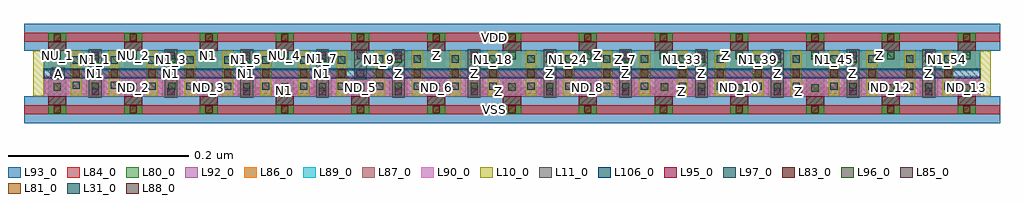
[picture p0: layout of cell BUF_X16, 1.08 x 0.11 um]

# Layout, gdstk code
import gdstk
lib = gdstk.Library(unit=1e-6, precision=1e-09)
def R(c, l, rs):  # rectangles x0, y0, x1, y1
    for r in rs: c.add(gdstk.rectangle(r[:2], r[2:], *l))
def A(c, l, x, y, w, h, nx, ny, dx, dy):  # array of equal rectangles
    R(c, l, [(x+i*dx, y+j*dy, x+i*dx+w, y+j*dy+h) for i in range(nx) for j in range(ny)])
L10_0 = (10, 0)
L11_0 = (11, 0)
L31_0 = (31, 0)
L80_0 = (80, 0)
L81_0 = (81, 0)
L83_0 = (83, 0)
L84_0 = (84, 0)
L85_0 = (85, 0)
L86_0 = (86, 0)
L87_0 = (87, 0)
L88_0 = (88, 0)
L89_0 = (89, 0)
L90_0 = (90, 0)
L92_0 = (92, 0)
L93_0 = (93, 0)
L95_0 = (95, 0)
L96_0 = (96, 0)
L97_0 = (97, 0)
L106_0 = (106, 0)

buf_x16 = lib.new_cell('BUF_X16')
A(buf_x16, L10_0, -0.027, 0.015, 0.012, 0.05, 26, 1, 0.042, 0)
A(buf_x16, L11_0, 0.035, 0.013, 0.014, 0.034, 12, 1, 0.084, 0)
A(buf_x16, L11_0, 0.035, 0.033, 0.014, 0.034, 4, 1, 0.084, 0)
A(buf_x16, L11_0, 0.371, 0.033, 0.014, 0.034, 8, 1, 0.084, 0)
R(buf_x16, L11_0, [(-0.006,0.033,0.008,0.047), (0.329,0.033,0.343,0.067)])
A(buf_x16, L31_0, 0.038, 0.036, 0.008, 0.008, 12, 1, 0.084, 0)
R(buf_x16, L31_0, [(-0.003,0.036,0.005,0.044)])
A(buf_x16, L80_0, -0.01, -0.005, 0.02, 0.021, 13, 1, 0.084, 0)
A(buf_x16, L80_0, -0.01, 0.015, 0.02, 0.02, 25, 1, 0.042, 0)
A(buf_x16, L80_0, -0.01, 0.056, 0.02, 0.029, 13, 1, 0.084, 0)
R(buf_x16, L80_0, [(-0.01,0.045,0.01,0.065), (-0.01,0.045,0.01,0.065), (0.032,0.045,0.052,0.065), (0.032,0.045,0.052,0.065), (0.074,0.045,0.094,0.065), (0.074,0.045,0.094,0.065), (0.116,0.045,0.136,0.065), (0.116,0.045,0.136,0.065), (0.158,0.045,0.178,0.065), (0.158,0.045,0.178,0.065), (0.2,0.045,0.22,0.065), (0.2,0.045,0.22,0.065), (0.242,0.045,0.262,0.065), (0.242,0.045,0.262,0.065), (0.284,0.045,0.304,0.065), (0.284,0.045,0.304,0.065), (0.326,0.045,0.346,0.065), (0.326,0.045,0.346,0.065), (0.368,0.045,0.388,0.065), (0.368,0.045,0.388,0.065), (0.41,0.045,0.43,0.065), (0.41,0.045,0.43,0.065), (0.452,0.045,0.472,0.065), (0.452,0.045,0.472,0.065), (0.494,0.045,0.514,0.065), (0.494,0.045,0.514,0.065), (0.536,0.045,0.556,0.065), (0.536,0.045,0.556,0.065), (0.578,0.045,0.598,0.065), (0.578,0.045,0.598,0.065), (0.62,0.045,0.64,0.065), (0.62,0.045,0.64,0.065), (0.662,0.045,0.682,0.065), (0.662,0.045,0.682,0.065), (0.704,0.045,0.724,0.065), (0.704,0.045,0.724,0.065), (0.746,0.045,0.766,0.065), (0.746,0.045,0.766,0.065), (0.788,0.045,0.808,0.065), (0.788,0.045,0.808,0.065), (0.83,0.045,0.85,0.065), (0.83,0.045,0.85,0.065), (0.872,0.045,0.892,0.065), (0.872,0.045,0.892,0.065), (0.914,0.045,0.934,0.065), (0.914,0.045,0.934,0.065), (0.956,0.045,0.976,0.065), (0.956,0.045,0.976,0.065), (0.998,0.045,1.018,0.065), (0.998,0.045,1.018,0.065)])
A(buf_x16, L81_0, 0.017, 0.036, 0.008, 0.008, 24, 1, 0.042, 0)
R(buf_x16, L81_0, [(0.017,0.036,0.025,0.044)])
A(buf_x16, L83_0, -0.004, -0.004, 0.008, 0.008, 13, 2, 0.084, 0.08)
A(buf_x16, L83_0, 0.038, 0.016, 0.008, 0.008, 12, 1, 0.084, 0)
R(buf_x16, L83_0, [(0.038,0.056,0.046,0.064), (0.038,0.056,0.046,0.064), (0.122,0.056,0.13,0.064), (0.122,0.056,0.13,0.064), (0.206,0.056,0.214,0.064), (0.206,0.056,0.214,0.064), (0.29,0.056,0.298,0.064), (0.29,0.056,0.298,0.064), (0.374,0.056,0.382,0.064), (0.374,0.056,0.382,0.064), (0.458,0.056,0.466,0.064), (0.458,0.056,0.466,0.064), (0.542,0.056,0.55,0.064), (0.542,0.056,0.55,0.064), (0.626,0.056,0.634,0.064), (0.626,0.056,0.634,0.064), (0.71,0.056,0.718,0.064), (0.71,0.056,0.718,0.064), (0.794,0.056,0.802,0.064), (0.794,0.056,0.802,0.064), (0.878,0.056,0.886,0.064), (0.878,0.056,0.886,0.064), (0.962,0.056,0.97,0.064), (0.962,0.056,0.97,0.064)])
A(buf_x16, L84_0, 0.205, 0.015, 0.031, 0.01, 4, 1, 0.021, 0)
A(buf_x16, L84_0, 0.457, 0.015, 0.031, 0.01, 4, 1, 0.021, 0)
A(buf_x16, L84_0, 0.625, 0.015, 0.031, 0.01, 4, 1, 0.021, 0)
A(buf_x16, L84_0, 0.793, 0.015, 0.031, 0.01, 4, 1, 0.021, 0)
A(buf_x16, L84_0, 0.016, 0.035, 0.031, 0.01, 14, 1, 0.021, 0)
A(buf_x16, L84_0, 0.331, 0.035, 0.031, 0.01, 31, 1, 0.021, 0)
A(buf_x16, L84_0, 0.121, 0.055, 0.031, 0.01, 4, 1, 0.021, 0)
A(buf_x16, L84_0, 0.373, 0.055, 0.031, 0.01, 4, 1, 0.021, 0)
A(buf_x16, L84_0, 0.541, 0.055, 0.031, 0.01, 4, 1, 0.021, 0)
A(buf_x16, L84_0, 0.709, 0.055, 0.031, 0.01, 4, 1, 0.021, 0)
A(buf_x16, L84_0, 0.877, 0.055, 0.031, 0.01, 4, 1, 0.021, 0)
R(buf_x16, L84_0, [(-0.037,-0.005,1.045,0.005), (0.037,0.015,0.047,0.025), (0.121,0.015,0.131,0.025), (0.373,0.015,0.383,0.025), (0.961,0.015,0.971,0.025), (-0.008,0.035,0.028,0.045), (0.037,0.055,0.047,0.065), (0.289,0.055,0.32,0.065), (0.31,0.055,0.341,0.065), (-0.037,0.075,1.045,0.085)])
A(buf_x16, L85_0, 0.038, 0.016, 0.008, 0.008, 12, 1, 0.084, 0)
A(buf_x16, L85_0, 0.038, 0.056, 0.008, 0.008, 4, 1, 0.084, 0)
A(buf_x16, L85_0, 0.374, 0.056, 0.008, 0.008, 8, 1, 0.084, 0)
R(buf_x16, L85_0, [(-0.003,0.036,0.005,0.044), (0.332,0.036,0.34,0.044), (0.332,0.056,0.34,0.064)])
R(buf_x16, L86_0, [(-0.015,0.043,1.023,0.065)])
R(buf_x16, L87_0, [(-0.015,0.015,1.023,0.037)])
R(buf_x16, L88_0, [(0.481,-0.004,0.489,0.004), (0.485,0.016,0.493,0.024), (0.688,0.016,0.696,0.024), (0.818,0.016,0.826,0.024), (0.248,0.017,0.256,0.025), (0.164,0.056,0.172,0.064), (0.416,0.056,0.424,0.064), (0.595,0.056,0.603,0.064), (0.737,0.056,0.745,0.064), (0.907,0.056,0.915,0.064), (0.481,0.076,0.489,0.084)])
R(buf_x16, L89_0, [(-0.015,0.043,1.023,0.065)])
R(buf_x16, L90_0, [(-0.015,0.015,1.023,0.037)])
R(buf_x16, L92_0, [(-0.014,0.017,1.022,0.035), (-0.014,0.045,1.022,0.063)])
R(buf_x16, L93_0, [(-0.037,-0.015,1.045,0.015), (-0.037,0.065,1.045,0.095)])
A(buf_x16, L95_0, -0.01, 0.005, 0.02, 0.01, 13, 2, 0.084, 0.06)
A(buf_x16, L96_0, 0.752, 0.02, 0.008, 0.008, 4, 1, 0.084, 0)
A(buf_x16, L96_0, -0.004, 0.021, 0.008, 0.008, 3, 1, 0.084, 0)
A(buf_x16, L96_0, 0.206, 0.021, 0.008, 0.008, 4, 1, 0.042, 0)
A(buf_x16, L96_0, 0.5, 0.021, 0.008, 0.008, 4, 1, 0.042, 0)
A(buf_x16, L96_0, 0.71, 0.021, 0.008, 0.008, 4, 1, 0.084, 0)
A(buf_x16, L96_0, 0.374, 0.052, 0.008, 0.008, 8, 1, 0.084, 0)
A(buf_x16, L96_0, -0.004, 0.056, 0.008, 0.008, 13, 1, 0.084, 0)
R(buf_x16, L96_0, [(0.416,0.021,0.424,0.029), (0.669,0.021,0.677,0.029), (0.038,0.022,0.046,0.03), (0.123,0.022,0.131,0.03), (0.374,0.022,0.382,0.03), (0.458,0.022,0.466,0.03), (0.038,0.052,0.046,0.06), (0.123,0.052,0.131,0.06), (0.206,0.052,0.214,0.06), (0.29,0.053,0.298,0.061)])
A(buf_x16, L97_0, 0.101, 0.022, 0.008, 0.008, 22, 1, 0.042, 0)
A(buf_x16, L97_0, 0.017, 0.036, 0.008, 0.008, 24, 1, 0.042, 0)
A(buf_x16, L97_0, 0.017, 0.051, 0.008, 0.008, 8, 1, 0.042, 0)
A(buf_x16, L97_0, 0.353, 0.052, 0.008, 0.008, 16, 1, 0.042, 0)
R(buf_x16, L97_0, [(0.017,0.023,0.025,0.031), (0.059,0.023,0.067,0.031)])
R(buf_x16, L106_0, [(-0.015,0.035,1.023,0.045)])
buf_x16.add(gdstk.Label('Z', (0.911,0.06), layer=88, texttype=0))
buf_x16.add(gdstk.Label('Z', (0.489,0.02), layer=88, texttype=0))
buf_x16.add(gdstk.Label('Z', (0.42,0.06), layer=88, texttype=0))
buf_x16.add(gdstk.Label('Z', (0.692,0.02), layer=88, texttype=0))
buf_x16.add(gdstk.Label('Z', (0.741,0.06), layer=88, texttype=0))
buf_x16.add(gdstk.Label('Z', (0.822,0.02), layer=88, texttype=0))
buf_x16.add(gdstk.Label('Z', (0.599,0.06), layer=88, texttype=0))
buf_x16.add(gdstk.Label('N1', (0.252,0.021), layer=88, texttype=0))
buf_x16.add(gdstk.Label('N1', (0.168,0.06), layer=88, texttype=0))
buf_x16.add(gdstk.Label('VSS', (0.485,0), layer=88, texttype=0))
buf_x16.add(gdstk.Label('VDD', (0.485,0.08), layer=88, texttype=0))
buf_x16.add(gdstk.Label('Z', (0.966,0.04), layer=31, texttype=0))
buf_x16.add(gdstk.Label('Z', (0.882,0.04), layer=31, texttype=0))
buf_x16.add(gdstk.Label('Z', (0.798,0.04), layer=31, texttype=0))
buf_x16.add(gdstk.Label('Z', (0.714,0.04), layer=31, texttype=0))
buf_x16.add(gdstk.Label('Z', (0.63,0.04), layer=31, texttype=0))
buf_x16.add(gdstk.Label('Z', (0.546,0.04), layer=31, texttype=0))
buf_x16.add(gdstk.Label('Z', (0.462,0.04), layer=31, texttype=0))
buf_x16.add(gdstk.Label('Z', (0.378,0.04), layer=31, texttype=0))
buf_x16.add(gdstk.Label('N1', (0.294,0.04), layer=31, texttype=0))
buf_x16.add(gdstk.Label('N1', (0.21,0.04), layer=31, texttype=0))
buf_x16.add(gdstk.Label('N1', (0.126,0.04), layer=31, texttype=0))
buf_x16.add(gdstk.Label('N1', (0.042,0.04), layer=31, texttype=0))
buf_x16.add(gdstk.Label('A', (0.001,0.04), layer=31, texttype=0))
buf_x16.add(gdstk.Label('N1_56', (0.987,0.026), layer=97, texttype=0))
buf_x16.add(gdstk.Label('N1_53', (0.945,0.026), layer=97, texttype=0))
buf_x16.add(gdstk.Label('N1_50', (0.903,0.026), layer=97, texttype=0))
buf_x16.add(gdstk.Label('N1_47', (0.861,0.026), layer=97, texttype=0))
buf_x16.add(gdstk.Label('N1_44', (0.819,0.026), layer=97, texttype=0))
buf_x16.add(gdstk.Label('N1_41', (0.777,0.026), layer=97, texttype=0))
buf_x16.add(gdstk.Label('N1_38', (0.735,0.026), layer=97, texttype=0))
buf_x16.add(gdstk.Label('N1_35', (0.693,0.026), layer=97, texttype=0))
buf_x16.add(gdstk.Label('N1_32', (0.651,0.026), layer=97, texttype=0))
buf_x16.add(gdstk.Label('N1_29', (0.609,0.026), layer=97, texttype=0))
buf_x16.add(gdstk.Label('N1_26', (0.567,0.026), layer=97, texttype=0))
buf_x16.add(gdstk.Label('N1_23', (0.525,0.026), layer=97, texttype=0))
buf_x16.add(gdstk.Label('N1_20', (0.483,0.026), layer=97, texttype=0))
buf_x16.add(gdstk.Label('N1_17', (0.441,0.026), layer=97, texttype=0))
buf_x16.add(gdstk.Label('N1_14', (0.399,0.026), layer=97, texttype=0))
buf_x16.add(gdstk.Label('N1_11', (0.357,0.026), layer=97, texttype=0))
buf_x16.add(gdstk.Label('N1_10', (0.357,0.04), layer=97, texttype=0))
buf_x16.add(gdstk.Label('N1_13', (0.399,0.04), layer=97, texttype=0))
buf_x16.add(gdstk.Label('N1_16', (0.441,0.04), layer=97, texttype=0))
buf_x16.add(gdstk.Label('N1_19', (0.483,0.04), layer=97, texttype=0))
buf_x16.add(gdstk.Label('N1_22', (0.525,0.04), layer=97, texttype=0))
buf_x16.add(gdstk.Label('N1_25', (0.567,0.04), layer=97, texttype=0))
buf_x16.add(gdstk.Label('N1_28', (0.609,0.04), layer=97, texttype=0))
buf_x16.add(gdstk.Label('N1_31', (0.651,0.04), layer=97, texttype=0))
buf_x16.add(gdstk.Label('N1_34', (0.693,0.04), layer=97, texttype=0))
buf_x16.add(gdstk.Label('N1_37', (0.735,0.04), layer=97, texttype=0))
buf_x16.add(gdstk.Label('N1_40', (0.777,0.04), layer=97, texttype=0))
buf_x16.add(gdstk.Label('N1_43', (0.819,0.04), layer=97, texttype=0))
buf_x16.add(gdstk.Label('N1_46', (0.861,0.04), layer=97, texttype=0))
buf_x16.add(gdstk.Label('N1_49', (0.903,0.04), layer=97, texttype=0))
buf_x16.add(gdstk.Label('N1_52', (0.945,0.04), layer=97, texttype=0))
buf_x16.add(gdstk.Label('N1_55', (0.987,0.04), layer=97, texttype=0))
buf_x16.add(gdstk.Label('N1_54', (0.987,0.056), layer=97, texttype=0))
buf_x16.add(gdstk.Label('N1_51', (0.945,0.056), layer=97, texttype=0))
buf_x16.add(gdstk.Label('N1_48', (0.903,0.056), layer=97, texttype=0))
buf_x16.add(gdstk.Label('N1_45', (0.861,0.056), layer=97, texttype=0))
buf_x16.add(gdstk.Label('N1_42', (0.819,0.056), layer=97, texttype=0))
buf_x16.add(gdstk.Label('N1_39', (0.777,0.056), layer=97, texttype=0))
buf_x16.add(gdstk.Label('N1_36', (0.735,0.056), layer=97, texttype=0))
buf_x16.add(gdstk.Label('N1_33', (0.693,0.056), layer=97, texttype=0))
buf_x16.add(gdstk.Label('N1_30', (0.651,0.056), layer=97, texttype=0))
buf_x16.add(gdstk.Label('N1_27', (0.609,0.056), layer=97, texttype=0))
buf_x16.add(gdstk.Label('N1_24', (0.567,0.056), layer=97, texttype=0))
buf_x16.add(gdstk.Label('N1_21', (0.525,0.056), layer=97, texttype=0))
buf_x16.add(gdstk.Label('N1_18', (0.483,0.056), layer=97, texttype=0))
buf_x16.add(gdstk.Label('N1_15', (0.441,0.056), layer=97, texttype=0))
buf_x16.add(gdstk.Label('N1_12', (0.399,0.056), layer=97, texttype=0))
buf_x16.add(gdstk.Label('N1_9', (0.357,0.056), layer=97, texttype=0))
buf_x16.add(gdstk.Label('A_24', (0.315,0.026), layer=97, texttype=0))
buf_x16.add(gdstk.Label('A_21', (0.273,0.026), layer=97, texttype=0))
buf_x16.add(gdstk.Label('A_18', (0.231,0.026), layer=97, texttype=0))
buf_x16.add(gdstk.Label('A_15', (0.189,0.026), layer=97, texttype=0))
buf_x16.add(gdstk.Label('A_12', (0.147,0.026), layer=97, texttype=0))
buf_x16.add(gdstk.Label('A_9', (0.105,0.026), layer=97, texttype=0))
buf_x16.add(gdstk.Label('A_8', (0.105,0.04), layer=97, texttype=0))
buf_x16.add(gdstk.Label('A_11', (0.147,0.04), layer=97, texttype=0))
buf_x16.add(gdstk.Label('A_14', (0.189,0.04), layer=97, texttype=0))
buf_x16.add(gdstk.Label('A_17', (0.231,0.04), layer=97, texttype=0))
buf_x16.add(gdstk.Label('A_20', (0.273,0.04), layer=97, texttype=0))
buf_x16.add(gdstk.Label('A_23', (0.315,0.04), layer=97, texttype=0))
buf_x16.add(gdstk.Label('A_22', (0.315,0.055), layer=97, texttype=0))
buf_x16.add(gdstk.Label('A_19', (0.273,0.055), layer=97, texttype=0))
buf_x16.add(gdstk.Label('A_16', (0.231,0.055), layer=97, texttype=0))
buf_x16.add(gdstk.Label('A_13', (0.189,0.055), layer=97, texttype=0))
buf_x16.add(gdstk.Label('A_10', (0.147,0.055), layer=97, texttype=0))
buf_x16.add(gdstk.Label('A_7', (0.105,0.055), layer=97, texttype=0))
buf_x16.add(gdstk.Label('A_4', (0.063,0.055), layer=97, texttype=0))
buf_x16.add(gdstk.Label('A_5', (0.063,0.04), layer=97, texttype=0))
buf_x16.add(gdstk.Label('A_6', (0.063,0.027), layer=97, texttype=0))
buf_x16.add(gdstk.Label('A_3', (0.021,0.027), layer=97, texttype=0))
buf_x16.add(gdstk.Label('A_2', (0.021,0.04), layer=97, texttype=0))
buf_x16.add(gdstk.Label('A_1', (0.021,0.055), layer=97, texttype=0))
buf_x16.add(gdstk.Label('Z_6', (0.546,0.025), layer=96, texttype=0))
buf_x16.add(gdstk.Label('Z_8', (0.63,0.025), layer=96, texttype=0))
buf_x16.add(gdstk.Label('Z_10', (0.714,0.025), layer=96, texttype=0))
buf_x16.add(gdstk.Label('Z_12', (0.798,0.025), layer=96, texttype=0))
buf_x16.add(gdstk.Label('Z_14', (0.882,0.025), layer=96, texttype=0))
buf_x16.add(gdstk.Label('Z_16', (0.966,0.025), layer=96, texttype=0))
buf_x16.add(gdstk.Label('Z_15', (0.966,0.056), layer=96, texttype=0))
buf_x16.add(gdstk.Label('Z_13', (0.882,0.056), layer=96, texttype=0))
buf_x16.add(gdstk.Label('Z_11', (0.798,0.056), layer=96, texttype=0))
buf_x16.add(gdstk.Label('Z_9', (0.714,0.056), layer=96, texttype=0))
buf_x16.add(gdstk.Label('Z_7', (0.63,0.056), layer=96, texttype=0))
buf_x16.add(gdstk.Label('Z_5', (0.546,0.056), layer=96, texttype=0))
buf_x16.add(gdstk.Label('Z_3', (0.462,0.056), layer=96, texttype=0))
buf_x16.add(gdstk.Label('Z_4', (0.462,0.026), layer=96, texttype=0))
buf_x16.add(gdstk.Label('Z_2', (0.378,0.026), layer=96, texttype=0))
buf_x16.add(gdstk.Label('Z_1', (0.378,0.056), layer=96, texttype=0))
buf_x16.add(gdstk.Label('N1_7', (0.294,0.057), layer=96, texttype=0))
buf_x16.add(gdstk.Label('N1_8', (0.294,0.025), layer=96, texttype=0))
buf_x16.add(gdstk.Label('N1_6', (0.21,0.025), layer=96, texttype=0))
buf_x16.add(gdstk.Label('N1_5', (0.21,0.056), layer=96, texttype=0))
buf_x16.add(gdstk.Label('N1_3', (0.127,0.056), layer=96, texttype=0))
buf_x16.add(gdstk.Label('N1_4', (0.127,0.026), layer=96, texttype=0))
buf_x16.add(gdstk.Label('N1_2', (0.042,0.026), layer=96, texttype=0))
buf_x16.add(gdstk.Label('N1_1', (0.042,0.056), layer=96, texttype=0))
buf_x16.add(gdstk.Label('ND_9', (0.673,0.025), layer=96, texttype=0))
buf_x16.add(gdstk.Label('ND_8', (0.588,0.025), layer=96, texttype=0))
buf_x16.add(gdstk.Label('ND_7', (0.504,0.025), layer=96, texttype=0))
buf_x16.add(gdstk.Label('ND_6', (0.42,0.025), layer=96, texttype=0))
buf_x16.add(gdstk.Label('ND_5', (0.336,0.025), layer=96, texttype=0))
buf_x16.add(gdstk.Label('ND_4', (0.252,0.025), layer=96, texttype=0))
buf_x16.add(gdstk.Label('ND_3', (0.168,0.025), layer=96, texttype=0))
buf_x16.add(gdstk.Label('ND_2', (0.084,0.025), layer=96, texttype=0))
buf_x16.add(gdstk.Label('ND_1', (0,0.025), layer=96, texttype=0))
buf_x16.add(gdstk.Label('ND_10', (0.756,0.024), layer=96, texttype=0))
buf_x16.add(gdstk.Label('ND_11', (0.84,0.024), layer=96, texttype=0))
buf_x16.add(gdstk.Label('ND_12', (0.924,0.024), layer=96, texttype=0))
buf_x16.add(gdstk.Label('ND_13', (1.008,0.024), layer=96, texttype=0))
buf_x16.add(gdstk.Label('NU_13', (1.008,0.06), layer=96, texttype=0))
buf_x16.add(gdstk.Label('NU_12', (0.924,0.06), layer=96, texttype=0))
buf_x16.add(gdstk.Label('NU_11', (0.84,0.06), layer=96, texttype=0))
buf_x16.add(gdstk.Label('NU_10', (0.756,0.06), layer=96, texttype=0))
buf_x16.add(gdstk.Label('NU_9', (0.672,0.06), layer=96, texttype=0))
buf_x16.add(gdstk.Label('NU_8', (0.588,0.06), layer=96, texttype=0))
buf_x16.add(gdstk.Label('NU_7', (0.504,0.06), layer=96, texttype=0))
buf_x16.add(gdstk.Label('Z', (0.42,0.06), layer=96, texttype=0))
buf_x16.add(gdstk.Label('NU_5', (0.336,0.06), layer=96, texttype=0))
buf_x16.add(gdstk.Label('NU_4', (0.252,0.06), layer=96, texttype=0))
buf_x16.add(gdstk.Label('NU_3', (0.168,0.06), layer=96, texttype=0))
buf_x16.add(gdstk.Label('NU_2', (0.084,0.06), layer=96, texttype=0))
buf_x16.add(gdstk.Label('NU_1', (0,0.06), layer=96, texttype=0))

lib.write_gds('BUF_X16.gds')
